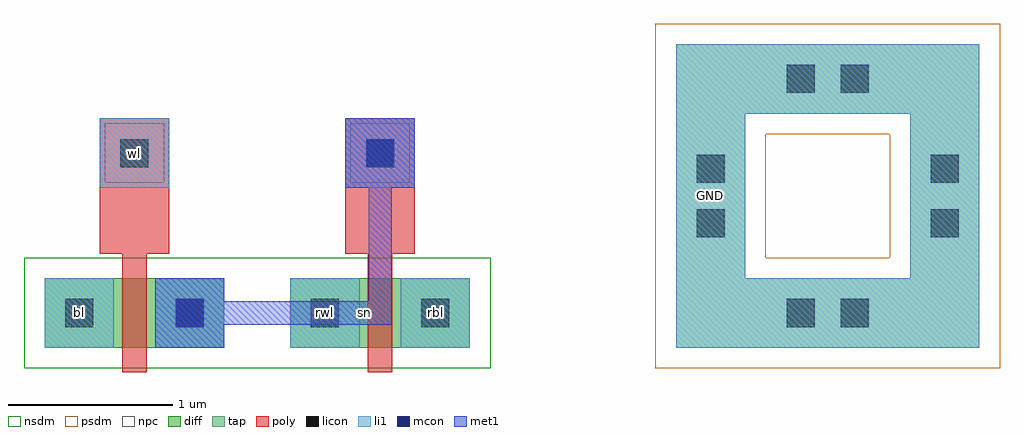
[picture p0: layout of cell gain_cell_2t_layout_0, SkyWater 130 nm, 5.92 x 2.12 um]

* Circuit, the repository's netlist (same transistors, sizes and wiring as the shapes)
* gain_cell_2t.spice -- 2T gain-cell bitcell netlist, derived (issue #14).
* Regenerate with: ./design/regen_netlist.sh (requires PDK_ROOT/PDK, see
* design/README.md). --check verifies this file is not stale relative to
* a fresh regeneration from design/gain_cell_2t.sch -- staleness is failure.
*
* Provenance: sha256 of the source schematic this netlist derives from
* (reproduce with: sha256sum design/gain_cell_2t.sch). This is the
* file-content hash, not a git commit reference, so it stays meaningful
* in a shallow clone and does not drift when an unrelated commit
* elsewhere touches HEAD.
*   design/gain_cell_2t.sch: sha256:1e778b714b4eeb3433afd6b5785cc22b47c41a29d832522e8f5874c31f98927e
*
* Every device instance below is sky130_fd_pr__nfet_01v8 -- verified
* mechanically by this script, not by review alone.
** sch_path: design/gain_cell_2t.sch
**.subckt gain_cell_2t wl bl rwl rbl
*.ipin wl
*.ipin bl
*.ipin rwl
*.opin rbl
XM_WR sn wl bl GND sky130_fd_pr__nfet_01v8 L=0.15 W=0.42 nf=1 ad=0.1218 as=0.1218 pd=1.42 ps=1.42 nrd=0.69047619047619
+ nrs=0.69047619047619 sa=0 sb=0 sd=0 mult=1 m=1
XM_RD rbl sn rwl GND sky130_fd_pr__nfet_01v8 L=0.15 W=0.42 nf=1 ad=0.1218 as=0.1218 pd=1.42 ps=1.42 nrd=0.69047619047619
+ nrs=0.69047619047619 sa=0 sb=0 sd=0 mult=1 m=1
**.ends
.GLOBAL GND
.end

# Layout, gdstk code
import gdstk
lib = gdstk.Library(unit=1e-6, precision=1e-09)
def R(c, l, rs):  # rectangles x0, y0, x1, y1
    for r in rs: c.add(gdstk.rectangle(r[:2], r[2:], *l))
def P(c, l, *ps):  # polygons
    for p in ps: c.add(gdstk.Polygon(p, *l))
diff = (65, 20)
tap = (65, 44)
poly = (66, 20)
licon = (66, 44)
li1 = (67, 20)
mcon = (67, 44)
met1 = (68, 20)
nsdm = (93, 44)
psdm = (94, 20)
npc = (95, 20)

mos_array = lib.new_cell('mos_array')
R(mos_array, diff, [(0,0,1.09,0.42), (1.49,0,2.58,0.42)])
R(mos_array, poly, [(0.47,-0.15,0.62,0.42), (1.96,-0.15,2.11,0.42), (0.47,0.42,0.62,0.57), (0.47,0.42,0.62,0.57), (1.96,0.42,2.11,0.57), (1.96,0.42,2.11,0.57), (0.335,0.57,0.755,1.39), (1.825,0.57,2.245,1.39)])
R(mos_array, licon, [(0.125,0.125,0.295,0.295), (0.795,0.125,0.965,0.295), (1.615,0.125,1.785,0.295), (2.285,0.125,2.455,0.295), (0.46,1.095,0.63,1.265), (1.95,1.095,2.12,1.265)])
R(mos_array, li1, [(0,0,0.42,0.42), (0.67,0,1.09,0.42), (1.49,0,1.91,0.42), (2.16,0,2.58,0.42), (0.335,0.97,0.755,1.39), (1.825,0.97,2.245,1.39)])
R(mos_array, nsdm, [(-0.125,-0.125,2.705,0.545)])
R(mos_array, npc, [(0.365,1,0.725,1.36), (1.855,1,2.215,1.36)])

mos__gain_cell_2t_mos = lib.new_cell('mos__gain_cell_2t_mos')
mos__gain_cell_2t_mos.add(gdstk.Reference(mos_array, (0,0)))

guard_ring = lib.new_cell('guard_ring')
P(guard_ring, tap, [(0,0),(0,1.42),(0.42,1.42),(0.42,0.42),(1.42,0.42),(1.42,1.42),(0,1.42),(0,1.84),(1.84,1.84),(1.84,0)])
R(guard_ring, licon, [(0.67,0.125,0.84,0.295), (1,0.125,1.17,0.295), (0.125,0.67,0.295,0.84), (1.545,0.67,1.715,0.84), (0.125,1,0.295,1.17), (1.545,1,1.715,1.17), (0.67,1.545,0.84,1.715), (1,1.545,1.17,1.715)])
P(guard_ring, li1, [(0,0),(0,1.42),(0.42,1.42),(0.42,0.42),(1.42,0.42),(1.42,1.42),(0,1.42),(0,1.84),(1.84,1.84),(1.84,0)])
P(guard_ring, psdm, [(-0.125,-0.125),(-0.125,1.295),(0.545,1.295),(0.545,0.545),(1.295,0.545),(1.295,1.295),(-0.125,1.295),(-0.125,1.965),(1.965,1.965),(1.965,-0.125)])

tap__gain_cell_2t_tap = lib.new_cell('tap__gain_cell_2t_tap')
tap__gain_cell_2t_tap.add(gdstk.Reference(guard_ring, (0,0)))

gain_cell_2t_layout_0 = lib.new_cell('gain_cell_2t_layout_0')
R(gain_cell_2t_layout_0, li1, [(0.67,0,1.09,0.42), (1.825,0.97,2.245,1.39)])
R(gain_cell_2t_layout_0, mcon, [(0.795,0.125,0.965,0.295), (1.95,1.095,2.12,1.265)])
R(gain_cell_2t_layout_0, met1, [(0.67,0,1.09,0.42), (1.825,0.97,2.245,1.39)])
gain_cell_2t_layout_0.add(gdstk.FlexPath([(0.88,0.21),(2.035,0.21),(2.035,1.18)], 0.14, ends="flush", simple_path=True, layer=68, datatype=20))  # met1
gain_cell_2t_layout_0.add(gdstk.Reference(mos__gain_cell_2t_mos, (0,0)))
gain_cell_2t_layout_0.add(gdstk.Reference(tap__gain_cell_2t_tap, (3.83,0)))
gain_cell_2t_layout_0.add(gdstk.Label('sn', (1.942,0.21), layer=68, texttype=5))
gain_cell_2t_layout_0.add(gdstk.Label('wl', (0.545,1.18), layer=67, texttype=5))
gain_cell_2t_layout_0.add(gdstk.Label('bl', (0.21,0.21), layer=67, texttype=5))
gain_cell_2t_layout_0.add(gdstk.Label('rwl', (1.7,0.21), layer=67, texttype=5))
gain_cell_2t_layout_0.add(gdstk.Label('rbl', (2.37,0.21), layer=67, texttype=5))
gain_cell_2t_layout_0.add(gdstk.Label('GND', (4.04,0.92), layer=67, texttype=5))

lib.write_gds('gain_cell_2t_layout_0.gds')
